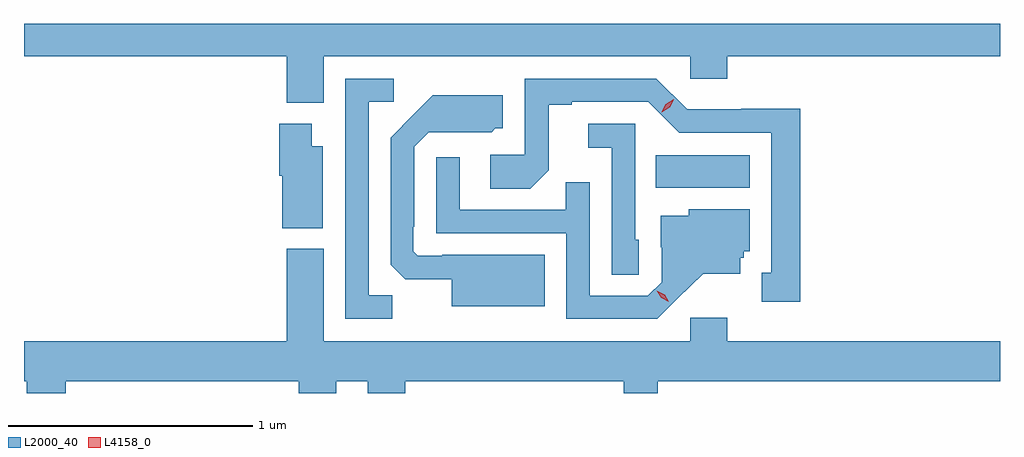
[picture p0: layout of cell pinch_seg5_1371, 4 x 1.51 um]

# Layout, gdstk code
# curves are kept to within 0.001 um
import gdstk
lib = gdstk.Library(unit=1e-6, precision=1e-09)
def R(c, l, rs):  # rectangles x0, y0, x1, y1
    for r in rs: c.add(gdstk.rectangle(r[:2], r[2:], *l))
def P(c, l, *ps):  # polygons
    for p in ps: c.add(gdstk.Polygon(p, *l))
L2000_40 = (2000, 40)
L4158_0 = (4158, 0)

pinch_seg5_1371 = lib.new_cell('pinch_seg5_1371')
R(pinch_seg5_1371, L2000_40, [(167.782,914.828,168.166,914.962)])
P(pinch_seg5_1371, L2000_40, [(166.42,915.368),(167.922,915.368),(167.922,915.275),(168.074,915.275),(168.074,915.368),(169.192,915.368),(169.192,915.5),(165.192,915.5),(165.192,915.368),(166.268,915.368),(166.268,915.176),(166.42,915.176)],
  [(166.701,914.387),(166.605,914.387),(166.605,915.18),(166.708,915.18),(166.708,915.276),(166.509,915.276),(166.509,914.292),(166.701,914.292)],
  [(168.373,915.152),(168.132,915.152),(168.132,915.15),(167.91,915.15),(167.784,915.276),(167.244,915.276),(167.244,914.964),(167.103,914.964),(167.103,914.824),(167.267,914.824),(167.343,914.9),(167.343,915.168),(167.437,915.168),(167.437,915.18),(167.751,915.18),(167.877,915.054),(168.254,915.054),(168.254,914.481),(168.215,914.481),(168.215,914.361),(168.373,914.361)],
  [(167.326,914.554),(166.906,914.554),(166.906,914.55),(166.806,914.55),(166.788,914.568),(166.788,914.668),(166.791,914.668),(166.791,914.997),(166.851,915.057),(167.108,915.056),(167.124,915.072),(167.155,915.072),(167.155,915.208),(166.867,915.208),(166.695,915.034),(166.695,914.512),(166.754,914.453),(166.946,914.453),(166.946,914.342),(167.326,914.342)],
  [(166.417,914.998),(166.372,914.998),(166.372,915.091),(166.238,915.091),(166.238,914.877),(166.25,914.877),(166.25,914.663),(166.417,914.663)],
  [(167.712,914.616),(167.697,914.616),(167.697,915.09),(167.505,915.09),(167.505,914.993),(167.601,914.993),(167.601,914.473),(167.712,914.473)],
  [(167.872,914.375),(167.975,914.477),(168.127,914.477),(168.127,914.541),(168.141,914.541),(168.141,914.568),(168.166,914.568),(168.166,914.74),(167.916,914.74),(167.916,914.713),(167.801,914.713),(167.801,914.584),(167.805,914.584),(167.805,914.442),(167.748,914.385),(167.511,914.385),(167.511,914.852),(167.413,914.852),(167.413,914.739),(166.977,914.739),(166.977,914.953),(166.881,914.953),(166.881,914.643),(167.415,914.643),(167.415,914.292),(167.788,914.292)],
  [(165.363,914.036),(166.319,914.036),(166.319,913.987),(166.471,913.987),(166.471,914.036),(166.601,914.036),(166.601,913.987),(166.754,913.987),(166.754,914.036),(167.651,914.036),(167.651,913.987),(167.79,913.987),(167.79,914.036),(169.192,914.036),(169.192,914.2),(168.074,914.2),(168.074,914.296),(167.922,914.296),(167.922,914.2),(166.42,914.2),(166.42,914.578),(166.268,914.578),(166.268,914.2),(165.192,914.2),(165.192,914.036),(165.203,914.036),(165.203,913.987),(165.363,913.987)])
P(pinch_seg5_1371, L4158_0, [(167.806,915.138),(167.806,915.139),(167.823,915.171),(167.855,915.191),(167.855,915.191),(167.855,915.19),(167.838,915.158),(167.806,915.138)],
  [(167.834,914.361),(167.803,914.377),(167.786,914.407),(167.786,914.407),(167.786,914.407),(167.817,914.391),(167.834,914.362),(167.834,914.361)])

lib.write_gds('pinch_seg5_1371.gds')
